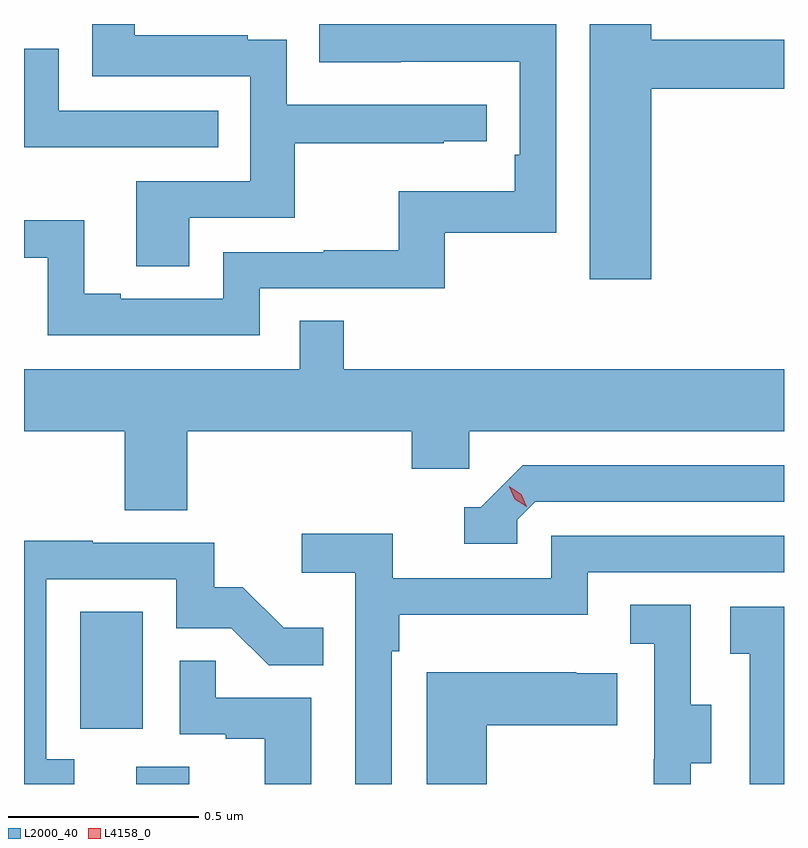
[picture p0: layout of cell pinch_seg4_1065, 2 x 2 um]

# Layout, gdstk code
import gdstk
lib = gdstk.Library(unit=1e-6, precision=1e-09)
def R(c, l, rs):  # rectangles x0, y0, x1, y1
    for r in rs: c.add(gdstk.rectangle(r[:2], r[2:], *l))
def P(c, l, *ps):  # polygons
    for p in ps: c.add(gdstk.Polygon(p, *l))
L2000_40 = (2000, 40)
L4158_0 = (4158, 0)

pinch_seg4_1065 = lib.new_cell('pinch_seg4_1065')
R(pinch_seg4_1065, L2000_40, [(818.591,755.932,818.731,755.978), (818.444,756.078,818.608,756.385)])
P(pinch_seg4_1065, L2000_40, [(819.946,757.762),(820.296,757.762),(820.296,757.891),(819.946,757.891),(819.946,757.932),(819.785,757.932),(819.785,757.26),(819.946,757.26)],
  [(818.916,757.236),(819.403,757.236),(819.403,757.383),(819.696,757.383),(819.696,757.932),(819.073,757.932),(819.073,757.832),(819.287,757.832),(819.287,757.833),(819.6,757.833),(819.6,757.588),(819.587,757.588),(819.587,757.492),(819.282,757.492),(819.282,757.337),(819.085,757.337),(819.085,757.332),(818.82,757.332),(818.82,757.209),(818.551,757.209),(818.551,757.222),(818.455,757.222),(818.455,757.415),(818.296,757.415),(818.296,757.317),(818.358,757.317),(818.358,757.113),(818.916,757.113)],
  [(818.731,757.422),(819.008,757.422),(819.008,757.618),(819.401,757.618),(819.401,757.623),(819.514,757.623),(819.514,757.719),(818.988,757.719),(818.988,757.891),(818.885,757.891),(818.885,757.903),(818.587,757.903),(818.587,757.932),(818.476,757.932),(818.476,757.794),(818.892,757.794),(818.892,757.518),(818.591,757.518),(818.591,757.294),(818.731,757.294)],
  [(818.807,757.704),(818.388,757.704),(818.388,757.867),(818.296,757.867),(818.296,757.608),(818.807,757.608)],
  [(818.726,756.86),(819.317,756.86),(819.317,756.762),(819.468,756.762),(819.468,756.86),(820.296,756.86),(820.296,757.024),(819.137,757.024),(819.137,757.151),(819.021,757.151),(819.021,757.024),(818.296,757.024),(818.296,756.86),(818.561,756.86),(818.561,756.652),(818.726,756.652)],
  [(819.594,756.627),(819.642,756.675),(820.296,756.675),(820.296,756.771),(819.609,756.771),(819.498,756.66),(819.455,756.66),(819.455,756.564),(819.594,756.564)],
  [(819.264,756.281),(819.284,756.281),(819.284,756.377),(819.78,756.377),(819.78,756.489),(820.296,756.489),(820.296,756.585),(819.684,756.585),(819.684,756.474),(819.266,756.474),(819.266,756.59),(819.027,756.59),(819.027,756.488),(819.168,756.488),(819.168,755.932),(819.264,755.932)],
  [(818.428,755.997),(818.355,755.997),(818.355,756.471),(818.697,756.471),(818.697,756.342),(818.842,756.342),(818.94,756.244),(819.083,756.244),(819.083,756.343),(818.979,756.343),(818.872,756.45),(818.796,756.45),(818.796,756.567),(818.477,756.567),(818.477,756.572),(818.296,756.572),(818.296,755.932),(818.428,755.932)],
  [(820.051,755.986),(820.105,755.986),(820.105,756.141),(820.05,756.141),(820.05,756.404),(819.891,756.404),(819.891,756.301),(819.954,756.301),(819.954,755.997),(819.953,755.997),(819.953,755.932),(820.051,755.932)],
  [(820.296,756.399),(820.155,756.399),(820.155,756.275),(820.206,756.275),(820.206,755.932),(820.296,755.932)],
  [(819.052,756.159),(818.801,756.159),(818.801,756.257),(818.706,756.257),(818.706,756.063),(818.827,756.063),(818.827,756.051),(818.93,756.051),(818.93,755.932),(819.052,755.932)],
  [(819.514,756.086),(819.857,756.086),(819.857,756.223),(819.749,756.223),(819.749,756.226),(819.356,756.226),(819.356,755.932),(819.514,755.932)])
P(pinch_seg4_1065, L4158_0, [(819.619,756.662),(819.588,756.682),(819.573,756.714),(819.573,756.715),(819.573,756.715),(819.604,756.695),(819.619,756.662),(819.619,756.662)])

lib.write_gds('pinch_seg4_1065.gds')
